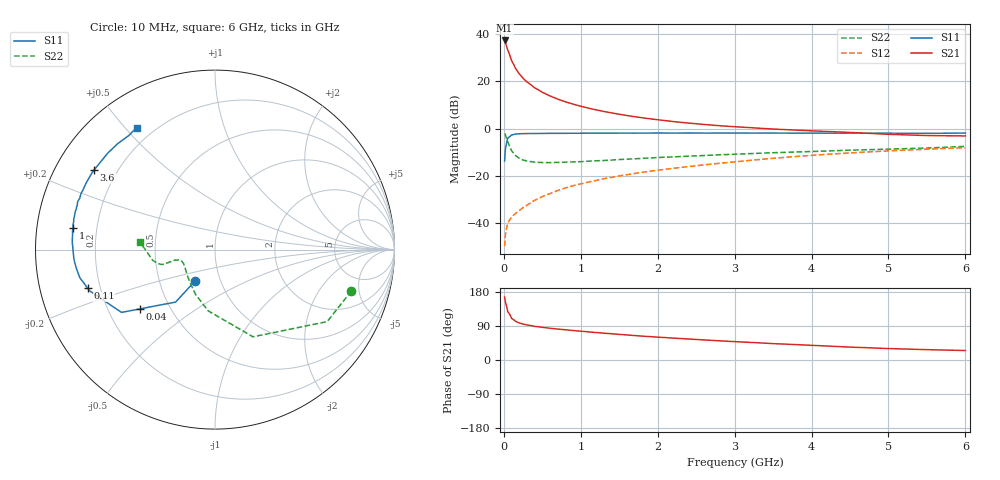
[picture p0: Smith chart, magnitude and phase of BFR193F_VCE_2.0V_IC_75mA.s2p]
! Infineon Technologies  Discrete & RF Semiconductors
! BFR193F
! VCE =  2.0 V,  IC =  75 mA
! Common Emitter S-Parameters:  Jan 2017
# GHz  S  MA  R  50
!  f  S11  S21  S12  S22
! GHz  MAG  ANG  MAG  ANG  MAG  ANG  MAG  ANG
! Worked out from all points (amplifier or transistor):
!   77 points, 10 MHz to 6 GHz, reference 50 ohm
!   highest |S21| = 37.3 dB at 10 MHz (marker M1)
!   |S21| within 3 dB of that: start of sweep to 40.77 MHz
!   unconditionally stable (mu >= 1): 395.9 MHz to 2.937 GHz
!   at 130 MHz: K = 0.68, MSG = 31.7 dB, |S12| = -36.4 dB
!   at 2.2 GHz: K = 1.05, MAG = 8.5 dB, |S12| = -16.8 dB
!   at 6 GHz: K = 0.92, MSG = 2.5 dB, |S12| = -8.0 dB
!   S11 on the Smith chart (normalised r, x): 10 MHz: 0.76, -0.28; 40 MHz: 0.34, -0.31; 110 MHz: 0.15, -0.15; 1 GHz: 0.11, +0.08; 3.6 GHz: 0.12, +0.30; 6 GHz: 0.14, +0.54
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0.01  0.2078 -122.5  72.87 166.0  0.0033 81.0  0.7944 -16.8
0.02  0.3658 -126.9  67.16 152.8  0.0057 70.1  0.7427 -32.7
0.04  0.5349 -141.8  52.05 138.2  0.0085 57.4  0.5756 -52.7
0.05  0.6274 -146.1  46.37 127.6  0.01 53.8  0.5297 -66.5
0.1  0.7355 -161.8  27.37 109.8  0.0135 49.9  0.3432 -96.4
0.11  0.7415 -163.1  25.66 108.7  0.014 50.8  0.3268 -99.2
0.15  0.7693 -168.3  18.98 102.3  0.0161 53.9  0.2714 -113.6
0.2  0.7784 -171.9  14.41 97.7  0.0185 57.5  0.2369 -124.3
0.25  0.785 -174.7  11.6 94.8  0.0216 61.2  0.2173 -133.2
0.3  0.788 -176.5  9.715 92.5  0.0241 64.1  0.2076 -139.0
0.4  0.7906 -179.4  7.306 88.8  0.0306 67.4  0.1966 -147.4
0.5  0.793 178.7  5.865 86.2  0.0368 70.3  0.1925 -152.5
0.7  0.7974 175.2  4.217 81.6  0.0494 72.8  0.1936 -158.3
1  0.8004 171.3  2.976 76.0  0.0682 74.9  0.2011 -162.4
1.1  0.8029 170.1  2.711 74.2  0.0747 75.3  0.2058 -163.1
1.5  0.8058 165.8  2.017 67.6  0.1004 75.5  0.2228 -164.8
2.1  0.8083 160.0  1.478 59.1  0.1387 74.6  0.2495 -165.0
3.1  0.8076 151.3  1.075 47.5  0.2062 71.7  0.2927 -163.9
3.6  0.8066 146.6  0.964 42.4  0.2437 69.4  0.3141 -164.9
4.1  0.8029 141.8  0.885 37.8  0.2797 66.3  0.3334 -167.3
5.1  0.7998 131.4  0.75 29.6  0.345 59.4  0.3733 -176.5
6  0.8081 122.7  0.702 25.0  0.3959 53.3  0.4219 174.0
